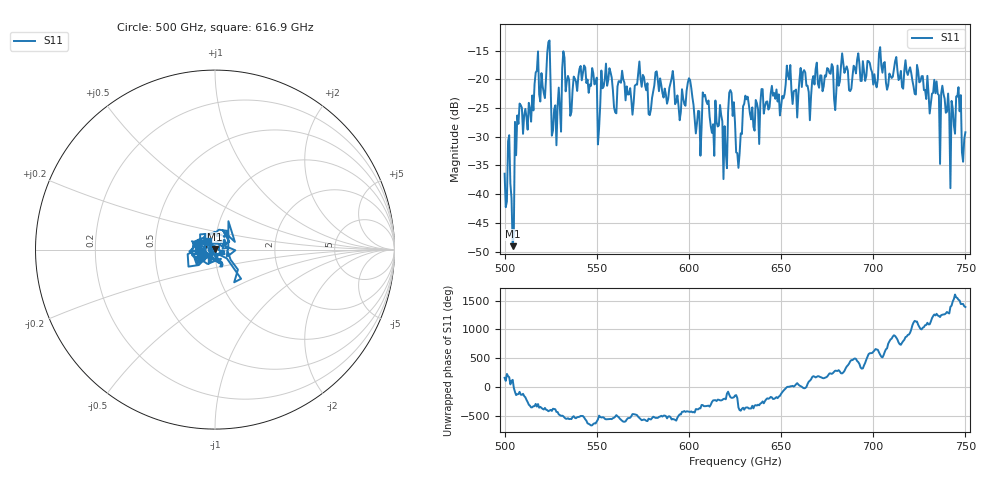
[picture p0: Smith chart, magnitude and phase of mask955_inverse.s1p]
!Created with skrf (http://scikit-rf.org).
# GHz S MA R 50.0
!freq magS11 angS11
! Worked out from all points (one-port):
!   401 points, 500 GHz to 750 GHz, reference 50 ohm
!   lowest |S11| = -49.1 dB at 504.4 GHz (marker M1), VSWR 1.01, Z = 49.8 + j0.286 ohm
!   |S11| at or under -10 dB: start of sweep to end of sweep
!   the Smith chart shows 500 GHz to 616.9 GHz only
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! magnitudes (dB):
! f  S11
! 500 GHz  -36.4
! 504.4 GHz  -49.1
! 508.1 GHz  -24.2
! 523.8 GHz  -13.5
! 526.9 GHz  -25.3
! 531.2 GHz  -18.1
! 548.8 GHz  -20.9
! 550.6 GHz  -31.3
! 553.8 GHz  -21.3
! 562.5 GHz  -20.3
! 574.4 GHz  -21.3
! 579.4 GHz  -25.2
! 590.6 GHz  -19.8
! 593.8 GHz  -22.8
! 600 GHz  -19.8
! 605 GHz  -25.5
! 608.8 GHz  -22.7
! 619.4 GHz  -28.2
! 623.1 GHz  -22.4
! 625 GHz  -27.5
! 626.9 GHz  -35.4
! 630.6 GHz  -22.8
! 656.2 GHz  -24.3
! 687.5 GHz  -22.1
! 718.8 GHz  -19.2
! 743.1 GHz  -25.0
! 746.2 GHz  -21.4
! 750 GHz  -29.2
